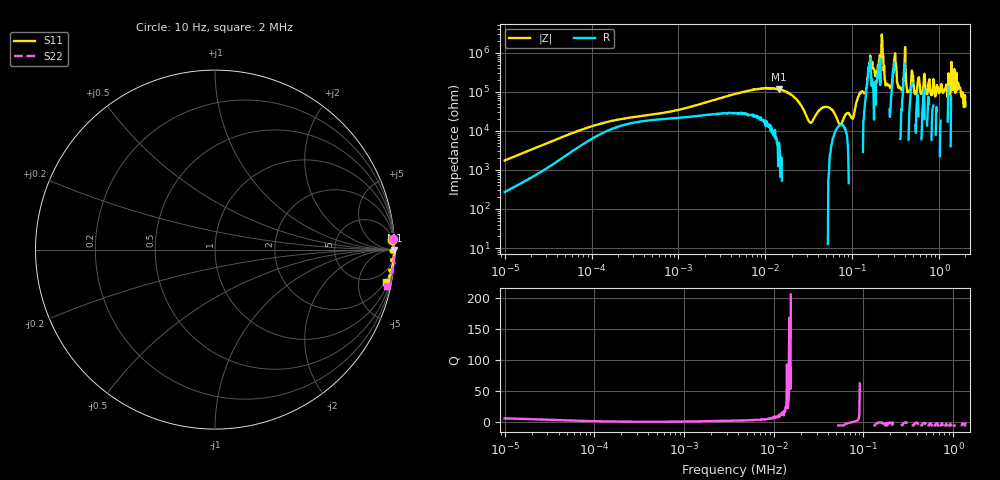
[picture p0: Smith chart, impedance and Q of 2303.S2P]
!Agilent Technologies,E5061B,MY49204007,A.02.12
!Date: Wed Jul 23 11:40:30 2025
!Data & Calibration Information:
!Freq	S11:SOLT2(ON)	S21:SOLT2(ON)	S12:SOLT2(ON)	S22:SOLT2(ON)
# Hz S dB R 50
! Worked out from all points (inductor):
!   1040 points, 10 Hz to 2 MHz, reference 50 ohm
!   read as one part in series: L = 26.6 H near 10.69 Hz
!   highest Q = 32.4 at 14.22 kHz (marker M1), where L = 1.29 H
!   self-resonance near 32.6 kHz
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10  -0.10 3.2  -24.91 -77.7  -24.92 -77.6  -0.08 3.4
77.209  -0.04 0.5  -40.67 -65.5  -40.66 -65.4  -0.02 0.7
588.818  -0.02 0.1  -48.84 -44.5  -48.84 -44.5  -0.01 0.3
4498.482  -0.01 -0.0  -58.87 -70.7  -58.94 -70.3  0.01 0.2
14217.24  -0.00 -0.2  -61.25 -87.8  -61.41 -88.0  0.01 0.1
34305.13  -0.08 -0.1  -44.62 155.4  -44.64 155.5  -0.01 0.0
48817.03  -0.01 -0.4  -52.36 95.9  -52.25 95.4  0.01 -0.1
71897.79  -0.18 -0.6  -43.15 11.7  -43.23 12.2  -0.01 -0.3
99964.22  -0.09 -0.5  -46.38 -147.8  -46.25 -147.5  -0.01 -0.4
140282.4  -0.02 -0.5  -59.42 53.9  -59.34 53.6  -0.01 -0.7
158692.4  -0.01 -0.6  -73.18 37.9  -72.62 45.3  0.00 -0.7
182035  -0.01 -0.8  -69.08 60.0  -69.33 54.8  0.00 -0.9
207499.7  -0.01 -1.0  -78.85 59.6  -77.16 45.1  0.00 -1.0
261946.5  -0.01 -1.3  -63.47 82.1  -63.71 87.4  -0.01 -1.3
306858.3  -0.01 -1.6  -77.68 94.5  -82.05 104.3  -0.00 -1.5
359497.9  -0.03 -1.9  -61.78 84.8  -61.65 88.6  -0.01 -1.8
395940.8  -0.03 -2.0  -73.48 15.0  -69.85 33.7  -0.00 -2.0
443882.5  -0.02 -2.4  -60.52 84.5  -59.87 81.5  -0.01 -2.3
488643.4  -0.02 -2.6  -70.34 56.5  -71.85 83.8  -0.01 -2.5
533404.2  -0.02 -2.9  -60.20 79.2  -59.20 86.1  -0.01 -2.8
1574823  -0.16 -8.5  -70.00 128.5  -73.71 104.7  -0.10 -9.2
2000000  -0.27 -10.8  -52.85 -127.7  -53.20 -129.9  -0.19 -11.8
